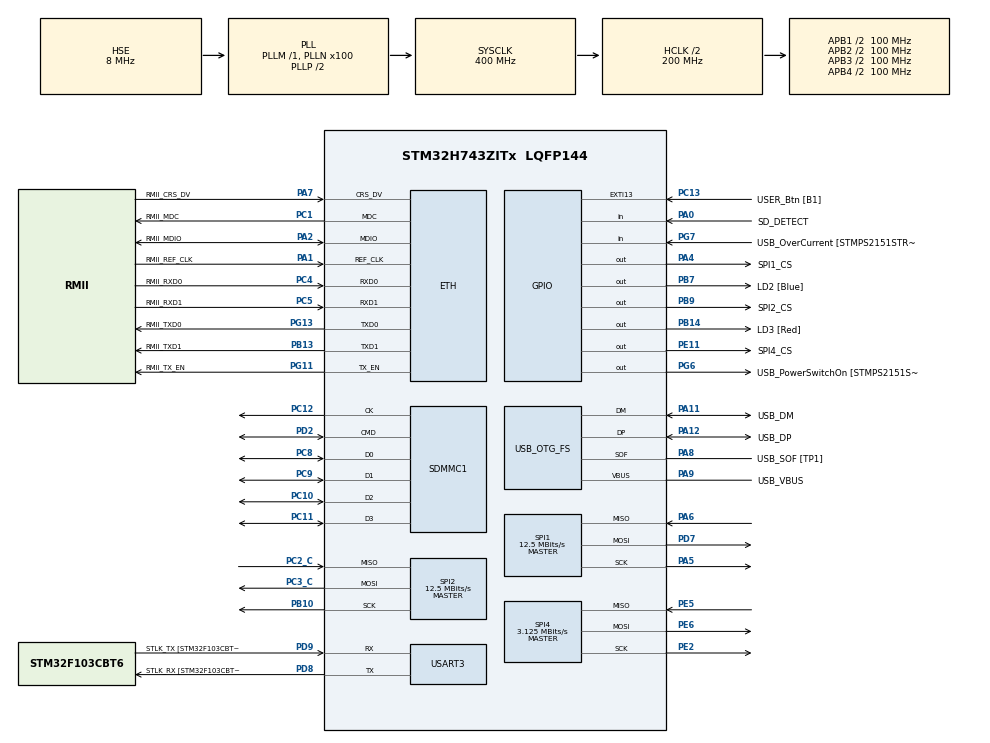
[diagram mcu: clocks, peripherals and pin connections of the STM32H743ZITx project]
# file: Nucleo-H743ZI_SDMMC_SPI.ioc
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CORTEX_M7.CPU_DCache=Enabled
CORTEX_M7.CPU_ICache=Enabled
Dma.Request0=SPI1_RX
Dma.Request1=SPI1_TX
Dma.Request2=SPI2_RX
Dma.Request3=SPI2_TX
Dma.Request4=SPI4_RX
Dma.Request5=SPI4_TX
Dma.SPI1_RX.0.Direction=DMA_PERIPH_TO_MEMORY
Dma.SPI1_RX.0.EventEnable=DISABLE
Dma.SPI1_RX.0.FIFOMode=DMA_FIFOMODE_DISABLE
Dma.SPI1_RX.0.Instance=DMA1_Stream0
Dma.SPI1_RX.0.MemDataAlignment=DMA_MDATAALIGN_BYTE
Dma.SPI1_RX.0.MemInc=DMA_MINC_ENABLE
Dma.SPI1_RX.0.Mode=DMA_NORMAL
Dma.SPI1_RX.0.PeriphDataAlignment=DMA_PDATAALIGN_BYTE
Dma.SPI1_RX.0.PeriphInc=DMA_PINC_DISABLE
Dma.SPI1_RX.0.Polarity=HAL_DMAMUX_REQ_GEN_RISING
Dma.SPI1_RX.0.Priority=DMA_PRIORITY_LOW
Dma.SPI1_RX.0.RequestNumber=1
Dma.SPI1_RX.0.SignalID=NONE
Dma.SPI1_RX.0.SyncEnable=DISABLE
Dma.SPI1_RX.0.SyncPolarity=HAL_DMAMUX_SYNC_NO_EVENT
Dma.SPI1_RX.0.SyncRequestNumber=1
Dma.SPI1_RX.0.SyncSignalID=NONE
Dma.SPI1_TX.1.Direction=DMA_MEMORY_TO_PERIPH
Dma.SPI1_TX.1.EventEnable=DISABLE
Dma.SPI1_TX.1.FIFOMode=DMA_FIFOMODE_DISABLE
Dma.SPI1_TX.1.Instance=DMA1_Stream1
Dma.SPI1_TX.1.MemDataAlignment=DMA_MDATAALIGN_BYTE
Dma.SPI1_TX.1.MemInc=DMA_MINC_ENABLE
Dma.SPI1_TX.1.Mode=DMA_NORMAL
Dma.SPI1_TX.1.PeriphDataAlignment=DMA_PDATAALIGN_BYTE
Dma.SPI1_TX.1.PeriphInc=DMA_PINC_DISABLE
Dma.SPI1_TX.1.Polarity=HAL_DMAMUX_REQ_GEN_RISING
Dma.SPI1_TX.1.Priority=DMA_PRIORITY_LOW
Dma.SPI1_TX.1.RequestNumber=1
Dma.SPI1_TX.1.SignalID=NONE
Dma.SPI1_TX.1.SyncEnable=DISABLE
Dma.SPI1_TX.1.SyncPolarity=HAL_DMAMUX_SYNC_NO_EVENT
Dma.SPI1_TX.1.SyncRequestNumber=1
Dma.SPI1_TX.1.SyncSignalID=NONE
Dma.SPI2_RX.2.Direction=DMA_PERIPH_TO_MEMORY
Dma.SPI2_RX.2.EventEnable=DISABLE
Dma.SPI2_RX.2.FIFOMode=DMA_FIFOMODE_DISABLE
Dma.SPI2_RX.2.Instance=DMA1_Stream2
Dma.SPI2_RX.2.MemDataAlignment=DMA_MDATAALIGN_BYTE
Dma.SPI2_RX.2.MemInc=DMA_MINC_ENABLE
Dma.SPI2_RX.2.Mode=DMA_NORMAL
Dma.SPI2_RX.2.PeriphDataAlignment=DMA_PDATAALIGN_BYTE
Dma.SPI2_RX.2.PeriphInc=DMA_PINC_DISABLE
Dma.SPI2_RX.2.Polarity=HAL_DMAMUX_REQ_GEN_RISING
Dma.SPI2_RX.2.Priority=DMA_PRIORITY_LOW
Dma.SPI2_RX.2.RequestNumber=1
Dma.SPI2_RX.2.SignalID=NONE
Dma.SPI2_RX.2.SyncEnable=DISABLE
Dma.SPI2_RX.2.SyncPolarity=HAL_DMAMUX_SYNC_NO_EVENT
Dma.SPI2_RX.2.SyncRequestNumber=1
Dma.SPI2_RX.2.SyncSignalID=NONE
Dma.SPI2_TX.3.Direction=DMA_MEMORY_TO_PERIPH
Dma.SPI2_TX.3.EventEnable=DISABLE
Dma.SPI2_TX.3.FIFOMode=DMA_FIFOMODE_DISABLE
Dma.SPI2_TX.3.Instance=DMA1_Stream3
Dma.SPI2_TX.3.MemDataAlignment=DMA_MDATAALIGN_BYTE
Dma.SPI2_TX.3.MemInc=DMA_MINC_ENABLE
Dma.SPI2_TX.3.Mode=DMA_NORMAL
Dma.SPI2_TX.3.PeriphDataAlignment=DMA_PDATAALIGN_BYTE
Dma.SPI2_TX.3.PeriphInc=DMA_PINC_DISABLE
Dma.SPI2_TX.3.Polarity=HAL_DMAMUX_REQ_GEN_RISING
Dma.SPI2_TX.3.Priority=DMA_PRIORITY_LOW
Dma.SPI2_TX.3.RequestNumber=1
Dma.SPI2_TX.3.SignalID=NONE
Dma.SPI2_TX.3.SyncEnable=DISABLE
Dma.SPI2_TX.3.SyncPolarity=HAL_DMAMUX_SYNC_NO_EVENT
Dma.SPI2_TX.3.SyncRequestNumber=1
Dma.SPI2_TX.3.SyncSignalID=NONE
Dma.SPI4_RX.4.Direction=DMA_PERIPH_TO_MEMORY
Dma.SPI4_RX.4.EventEnable=DISABLE
Dma.SPI4_RX.4.FIFOMode=DMA_FIFOMODE_DISABLE
Dma.SPI4_RX.4.Instance=DMA1_Stream4
Dma.SPI4_RX.4.MemDataAlignment=DMA_MDATAALIGN_BYTE
Dma.SPI4_RX.4.MemInc=DMA_MINC_ENABLE
Dma.SPI4_RX.4.Mode=DMA_NORMAL
Dma.SPI4_RX.4.PeriphDataAlignment=DMA_PDATAALIGN_BYTE
Dma.SPI4_RX.4.PeriphInc=DMA_PINC_DISABLE
Dma.SPI4_RX.4.Polarity=HAL_DMAMUX_REQ_GEN_RISING
Dma.SPI4_RX.4.Priority=DMA_PRIORITY_LOW
Dma.SPI4_RX.4.RequestNumber=1
Dma.SPI4_RX.4.SignalID=NONE
Dma.SPI4_RX.4.SyncEnable=DISABLE
Dma.SPI4_RX.4.SyncPolarity=HAL_DMAMUX_SYNC_NO_EVENT
Dma.SPI4_RX.4.SyncRequestNumber=1
Dma.SPI4_RX.4.SyncSignalID=NONE
Dma.SPI4_TX.5.Direction=DMA_MEMORY_TO_PERIPH
Dma.SPI4_TX.5.EventEnable=DISABLE
Dma.SPI4_TX.5.FIFOMode=DMA_FIFOMODE_DISABLE
Dma.SPI4_TX.5.Instance=DMA1_Stream5
Dma.SPI4_TX.5.MemDataAlignment=DMA_MDATAALIGN_BYTE
Dma.SPI4_TX.5.MemInc=DMA_MINC_ENABLE
Dma.SPI4_TX.5.Mode=DMA_NORMAL
Dma.SPI4_TX.5.PeriphDataAlignment=DMA_PDATAALIGN_BYTE
Dma.SPI4_TX.5.PeriphInc=DMA_PINC_DISABLE
Dma.SPI4_TX.5.Polarity=HAL_DMAMUX_REQ_GEN_RISING
Dma.SPI4_TX.5.Priority=DMA_PRIORITY_LOW
Dma.SPI4_TX.5.RequestNumber=1
Dma.SPI4_TX.5.SignalID=NONE
Dma.SPI4_TX.5.SyncEnable=DISABLE
Dma.SPI4_TX.5.SyncPolarity=HAL_DMAMUX_SYNC_NO_EVENT
Dma.SPI4_TX.5.SyncRequestNumber=1
Dma.SPI4_TX.5.SyncSignalID=NONE
ETH.MediaInterface=HAL_ETH_RMII_MODE
FATFS.BSP.number=1
FATFS0.BSP.STBoard=false
FATFS0.BSP.api=Unknown
FATFS0.BSP.i2caddr=0
FATFS0.BSP.instance=PA0
FATFS0.BSP.ip=GPIO
FATFS0.BSP.mode=Input
FATFS0.BSP.name=Detect_SDIO
FATFS0.BSP.solution=PA0
LWIP.BSP.number=1
LWIP.GATEWAY_ADDRESS=192.168.025.253
LWIP.IP_ADDRESS=192.168.025.236
LWIP.LWIP_DHCP=0
LWIP.NETMASK_ADDRESS=255.255.255.000
LWIP.Version=v2.0.3_Cube
LWIP0.BSP.STBoard=false
LWIP0.BSP.api=BSP_COMPONENT_DRIVER
LWIP0.BSP.component=LAN8742
LWIP0.BSP.i2caddr=0
LWIP0.BSP.instance=LAN8742
LWIP0.BSP.name=Driver_PHY
LWIP0.BSP.solution=LAN8742
Mcu.Family=STM32H7
Mcu.Name=STM32H743ZITx
Mcu.Package=LQFP144
NVIC.DMA1_Stream0_IRQn=true\:0\:0\:false\:false\:true\:false\:true
NVIC.DMA1_Stream1_IRQn=true\:0\:0\:false\:false\:true\:false\:true
NVIC.DMA1_Stream2_IRQn=true\:0\:0\:false\:false\:true\:false\:true
NVIC.DMA1_Stream3_IRQn=true\:0\:0\:false\:false\:true\:false\:true
NVIC.DMA1_Stream4_IRQn=true\:0\:0\:false\:false\:true\:false\:true
NVIC.DMA1_Stream5_IRQn=true\:0\:0\:false\:false\:true\:false\:true
NVIC.PriorityGroup=NVIC_PRIORITYGROUP_4
NVIC.SDMMC1_IRQn=true\:0\:0\:false\:false\:true\:true\:true
NVIC.SPI1_IRQn=true\:0\:0\:false\:false\:true\:true\:true
NVIC.SPI2_IRQn=true\:0\:0\:false\:false\:true\:true\:true
NVIC.SPI4_IRQn=true\:0\:0\:false\:false\:true\:true\:true
NVIC.USART3_IRQn=true\:0\:0\:false\:false\:true\:true\:true
PA0.GPIO_Label=SD_DETECT
PA0.GPIO_PuPd=GPIO_PULLUP
PA0.Signal=GPIO_Input
PA1.GPIO_Label=RMII_REF_CLK
PA1.GPIO_Speed=GPIO_SPEED_FREQ_HIGH
PA1.Mode=RMII
PA1.Signal=ETH_REF_CLK
PA10.GPIO_Label=USB_ID
PA10.Signal=USB_OTG_FS_ID
PA11.GPIO_Label=USB_DM
PA11.Mode=Device_Only
PA11.Signal=USB_OTG_FS_DM
PA12.GPIO_Label=USB_DP
PA12.Mode=Device_Only
PA12.Signal=USB_OTG_FS_DP
PA2.GPIO_Label=RMII_MDIO
PA2.GPIO_Speed=GPIO_SPEED_FREQ_HIGH
PA2.Mode=RMII
PA2.Signal=ETH_MDIO
PA4.GPIO_Label=SPI1_CS
PA4.GPIO_Speed=GPIO_SPEED_FREQ_HIGH
PA4.PinState=GPIO_PIN_SET
PA4.Signal=GPIO_Output
PA5.GPIO_Speed=GPIO_SPEED_FREQ_HIGH
PA5.Mode=Full_Duplex_Master
PA5.Signal=SPI1_SCK
PA6.GPIO_Speed=GPIO_SPEED_FREQ_HIGH
PA6.Mode=Full_Duplex_Master
PA6.Signal=SPI1_MISO
PA7.GPIO_Label=RMII_CRS_DV
PA7.GPIO_Speed=GPIO_SPEED_FREQ_HIGH
PA7.Mode=RMII
PA7.Signal=ETH_CRS_DV
PA8.GPIO_Label=USB_SOF [TP1]
PA8.Mode=Activate_SOF_FS
PA8.Signal=USB_OTG_FS_SOF
PA9.GPIO_Label=USB_VBUS
PA9.Mode=Activate_VBUS
PA9.Signal=USB_OTG_FS_VBUS
PB10.GPIO_Speed=GPIO_SPEED_FREQ_HIGH
PB10.Mode=Full_Duplex_Master
PB10.Signal=SPI2_SCK
PB13.GPIO_Label=RMII_TXD1
PB13.GPIO_Speed=GPIO_SPEED_FREQ_HIGH
PB13.Mode=RMII
PB13.Signal=ETH_TXD1
PB14.GPIO_Label=LD3 [Red]
PB14.Signal=GPIO_Output
PB7.GPIO_Label=LD2 [Blue]
PB7.Signal=GPIO_Output
PB9.GPIO_Label=SPI2_CS
PB9.GPIO_Speed=GPIO_SPEED_FREQ_HIGH
PB9.PinState=GPIO_PIN_SET
PB9.Signal=GPIO_Output
PC1.GPIO_Label=RMII_MDC
PC1.Mode=RMII
PC1.Signal=ETH_MDC
PC10.GPIO_PuPd=GPIO_PULLUP
PC10.Mode=SD_4_bits_Wide_bus
PC10.Signal=SDMMC1_D2
PC11.GPIO_PuPd=GPIO_PULLUP
PC11.Mode=SD_4_bits_Wide_bus
PC11.Signal=SDMMC1_D3
PC12.GPIO_PuPd=GPIO_PULLUP
PC12.Mode=SD_4_bits_Wide_bus
PC12.Signal=SDMMC1_CK
PC13.GPIO_Label=USER_Btn [B1]
PC13.Signal=GPXTI13
PC14-OSC32_IN\ (OSC32_IN).Mode=LSE-External-Oscillator
PC14-OSC32_IN\ (OSC32_IN).Signal=RCC_OSC32_IN
PC15-OSC32_OUT\ (OSC32_OUT).Mode=LSE-External-Oscillator
PC15-OSC32_OUT\ (OSC32_OUT).Signal=RCC_OSC32_OUT
PC2_C.GPIO_Speed=GPIO_SPEED_FREQ_HIGH
PC2_C.Mode=Full_Duplex_Master
PC2_C.Signal=SPI2_MISO
PC3_C.GPIO_Speed=GPIO_SPEED_FREQ_HIGH
PC3_C.Mode=Full_Duplex_Master
PC3_C.Signal=SPI2_MOSI
PC4.GPIO_Label=RMII_RXD0
PC4.GPIO_Speed=GPIO_SPEED_FREQ_HIGH
PC4.Mode=RMII
PC4.Signal=ETH_RXD0
PC5.GPIO_Label=RMII_RXD1
PC5.GPIO_Speed=GPIO_SPEED_FREQ_HIGH
PC5.Mode=RMII
PC5.Signal=ETH_RXD1
PC8.GPIO_PuPd=GPIO_PULLUP
PC8.Mode=SD_4_bits_Wide_bus
PC8.Signal=SDMMC1_D0
PC9.GPIO_PuPd=GPIO_PULLUP
PC9.Mode=SD_4_bits_Wide_bus
PC9.Signal=SDMMC1_D1
PD2.GPIO_PuPd=GPIO_PULLUP
PD2.Mode=SD_4_bits_Wide_bus
PD2.Signal=SDMMC1_CMD
PD7.GPIO_Speed=GPIO_SPEED_FREQ_HIGH
PD7.Mode=Full_Duplex_Master
PD7.Signal=SPI1_MOSI
PD8.GPIO_Label=STLK_RX [STM32F103CBT6_PA3]
PD8.Mode=Asynchronous
PD8.Signal=USART3_TX
PD9.GPIO_Label=STLK_TX [STM32F103CBT6_PA2]
PD9.Mode=Asynchronous
PD9.Signal=USART3_RX
PE11.GPIO_Label=SPI4_CS
PE11.GPIO_Speed=GPIO_SPEED_FREQ_HIGH
PE11.PinState=GPIO_PIN_SET
PE11.Signal=GPIO_Output
PE2.GPIO_Speed=GPIO_SPEED_FREQ_HIGH
PE2.Mode=Full_Duplex_Master
PE2.Signal=SPI4_SCK
PE5.GPIO_Speed=GPIO_SPEED_FREQ_HIGH
PE5.Mode=Full_Duplex_Master
PE5.Signal=SPI4_MISO
PE6.GPIO_Speed=GPIO_SPEED_FREQ_HIGH
PE6.Mode=Full_Duplex_Master
PE6.Signal=SPI4_MOSI
PG11.GPIO_Label=RMII_TX_EN
PG11.GPIO_Speed=GPIO_SPEED_FREQ_HIGH
PG11.Mode=RMII
PG11.Signal=ETH_TX_EN
PG13.GPIO_Label=RMII_TXD0
PG13.GPIO_Speed=GPIO_SPEED_FREQ_HIGH
PG13.Mode=RMII
PG13.Signal=ETH_TXD0
PG6.GPIO_Label=USB_PowerSwitchOn [STMPS2151STR_EN]
PG6.Signal=GPIO_Output
PG7.GPIO_Label=USB_OverCurrent [STMPS2151STR_FAULT]
PG7.Signal=GPIO_Input
PH0-OSC_IN\ (PH0).GPIO_Label=MCO
PH0-OSC_IN\ (PH0).Mode=HSE-External-Clock-Source
PH0-OSC_IN\ (PH0).Signal=RCC_OSC_IN
PH1-OSC_OUT\ (PH1).Mode=HSE-External-Clock-Source
PH1-OSC_OUT\ (PH1).Signal=RCC_OSC_OUT
ProjectManager.HeapSize=0x1000
ProjectManager.StackSize=0x1000
ProjectManager.TargetToolchain=TrueSTUDIO
RCC.48MHZClocksFreq_Value=24000000
RCC.ADCFreq_Value=16125000
RCC.AHBFreq_Value=216000000
RCC.APB1CLKDivider=RCC_HCLK_DIV4
RCC.APB1Freq_Value=100000000
RCC.APB1TimFreq_Value=108000000
RCC.APB2CLKDivider=RCC_HCLK_DIV2
RCC.APB2Freq_Value=100000000
RCC.APB2TimFreq_Value=216000000
RCC.APB3Freq_Value=100000000
RCC.APB4Freq_Value=100000000
RCC.CortexFreq_Value=400000000
RCC.D1PPRE=RCC_APB3_DIV2
RCC.D2PPRE1=RCC_APB1_DIV2
RCC.D2PPRE2=RCC_APB2_DIV2
RCC.D3PPRE=RCC_APB4_DIV2
RCC.DIVM1=1
RCC.DIVN1=100
RCC.DIVQ1=4
RCC.HCLKFreq_Value=200000000
RCC.HPRE=RCC_HCLK_DIV2
RCC.HSE_VALUE=8000000
RCC.HSI_VALUE=64000000
RCC.PLLM=25
RCC.PLLMUL=RCC_PLL_MUL9
RCC.PLLN=432
RCC.PLLQ=9
RCC.PLLSourceVirtual=RCC_PLLSOURCE_HSE
RCC.PRESCALERUSB=RCC_USBCLKSOURCE_PLL_DIV1_5
RCC.PWR_Regulator_Voltage_Scale=PWR_REGULATOR_VOLTAGE_SCALE1
RCC.SYSCLKFreq_VALUE=400000000
RCC.SYSCLKSource=RCC_SYSCLKSOURCE_PLLCLK
RCC.SYSCLKSourceVirtual=RCC_SYSCLKSOURCE_PLLCLK
RCC.USBCLockSelection=RCC_USBCLKSOURCE_HSI48
RCC.USBFreq_Value=48000000
RCC.VCOOutputFreq_Value=432000000
SPI1.BaudRatePrescaler=SPI_BAUDRATEPRESCALER_16
SPI1.CalculateBaudRate=12.5 MBits/s
SPI1.DataSize=SPI_DATASIZE_8BIT
SPI1.Direction=SPI_DIRECTION_2LINES
SPI1.Mode=SPI_MODE_MASTER
SPI1.VirtualType=VM_MASTER
SPI2.BaudRatePrescaler=SPI_BAUDRATEPRESCALER_16
SPI2.CalculateBaudRate=12.5 MBits/s
SPI2.DataSize=SPI_DATASIZE_8BIT
SPI2.Direction=SPI_DIRECTION_2LINES
SPI2.Mode=SPI_MODE_MASTER
SPI2.VirtualType=VM_MASTER
SPI4.BaudRatePrescaler=SPI_BAUDRATEPRESCALER_32
SPI4.CalculateBaudRate=3.125 MBits/s
SPI4.DataSize=SPI_DATASIZE_8BIT
SPI4.Direction=SPI_DIRECTION_2LINES
SPI4.Mode=SPI_MODE_MASTER
SPI4.VirtualType=VM_MASTER
USART3.VirtualMode-Asynchronous=VM_ASYNC
USB_OTG_FS.VirtualMode=Device_Only
VP_FATFS_VS_SDIO.Mode=SDIO
VP_LWIP_VS_Enabled.Mode=Enabled
board=NUCLEO-H743ZI

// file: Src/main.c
/* USER CODE BEGIN Header */
/**
  ******************************************************************************
  * @file           : main.c
  * @brief          : Main program body
  ******************************************************************************
  * @attention
  *
  * <h2><center>&copy; Copyright (c) 2019 STMicroelectronics.
  * All rights reserved.</center></h2>
  *
  * This software component is licensed by ST under BSD 3-Clause license,
  * the "License"; You may not use this file except in compliance with the
  * License. You may obtain a copy of the License at:
  *                        opensource.org/licenses/BSD-3-Clause
  *
  ******************************************************************************
  */
/* USER CODE END Header */

#include <dmc_fat.h>
#include <dmc_print.h>
#include "main.h"
#include "dma.h"
#include "fatfs.h"
#include "lwip.h"
#include "sdmmc.h"
#include "spi.h"
#include "usart.h"
#include "usb_device.h"
#include "gpio.h"

/* USER CODE BEGIN PV */
uint32_t msTick = 0;
uint32_t msTickPrevious = 0;

/* USER CODE END PV */

void SystemClock_Config(void);
/* USER CODE BEGIN PFP */
void HAL_IncTicks(void);
void HAL_StartTicks(void);
uint8_t HAL_GetTicks(uint32_t ms);
void MPU_Config(void);

/* USER CODE END PFP */

int main(void)
{

  /* Enable I-Cache---------------------------------------------------------*/
  SCB_EnableICache();

  /* Enable D-Cache---------------------------------------------------------*/
  SCB_EnableDCache();

  /* MCU Configuration--------------------------------------------------------*/

  /* Reset of all peripherals, Initializes the Flash interface and the Systick. */
  HAL_Init();

  /* Configure the system clock */
  SystemClock_Config();

  /* USER CODE BEGIN SysInit */
  MPU_Config();

  /* USER CODE END SysInit */

  /* Initialize all configured peripherals */
  MX_GPIO_Init();
  MX_DMA_Init();
  MX_SPI1_Init();
  MX_SPI2_Init();
  MX_SPI4_Init();
  MX_USART3_UART_Init();

  dmc_puts("\n");
  dmc_puts("--------------------------------------------------------------------------------\n");
  dmc_puts("MCU type            : ");
  dmc_puts(TERMINAL_CYAN);
  dmc_puts(GetMCUType());
  dmc_puts(TERMINAL_DEFAULT);
  if (strcmp(GetMCUType(), "STM32H743xx") == 0)
  {
    dmc_puts(TERMINAL_LIGHT_GREEN);
    printf(" OK\n");
    dmc_puts(TERMINAL_DEFAULT);
  }
  else
  {
    dmc_puts(TERMINAL_LIGHT_RED);
    printf(" FAIL\n");
    dmc_puts(TERMINAL_DEFAULT);
  }

  GetMcuRevision();

//  run_sdmmc_test();

  dmc_puts("MX_SDMMC1_SD_Init\n");
  MX_SDMMC1_SD_Init();
  dmc_puts("MX_FATFS_Init\n");
  MX_FATFS_Init();

  MX_USB_DEVICE_Init();

//  MX_LWIP_Init();
  /* USER CODE BEGIN 2 */

  dmc_put_sethuart(&huart3);

  dmc_puts(TERMINAL_DEFAULT);

  HAL_StartTicks();

  dmc_puts("SDPath: ");
  dmc_puts(SDPath);
  dmc_putcr();

  FRESULT res;
  FATFS MMCFatFs;
  FIL myFile;
  FATFS fs;
  DSTATUS status;
  BYTE work[1024]; /* Work area (larger is better for processing time) */

  /* Disk initialization */
  dmc_puts("Initialize disk: ");
  status = disk_initialize(0);
  if (status != RES_OK)
  {
    ShowDiskStatus(status);
  }
  else
  {
    dmc_puts("OK\n");
  }

  /* Disk status */
  dmc_puts("Disk status: ");
  status = disk_status(0);
  if (status != RES_OK)
  {
    ShowDiskStatus(status);
  }
  else
  {
    dmc_puts("OK\n");
  }

//  uint8_t pWData[512];
//  uint8_t pRData[512];
//  uint16_t BlockSize = 512;
//  uint32_t BlockNbr = 2;
//  uint32_t ReadAddr = 0;
//  uint32_t WriteAddr = 0;
//  uint32_t NumOfBlocks = 1;
//  uint32_t Timeout = 1000;
//  uint8_t SD_status = 0;
//
//  for (uint32_t j = 0; j < BlockNbr; j += 1)
//  {
//    WriteAddr = j;
//    ReadAddr = j;
//
//
//    for (uint16_t i = 0; i < BlockSize; i++)
//    {
//      pRData[i] = (i & 0xff);
//    }
//
//    //    disk_write(
//    //      0,    /* Physical drive nmuber to identify the drive */
//    //      pWData, /* Data to be written */
//    //      WriteAddr,   /* Sector address in LBA */
//    //      NumOfBlocks          /* Number of sectors to write */
//    //    );
//
//    //    dmc_puts("BSP_SD_WriteBlocks: ");
//    //    SD_status = BSP_SD_WriteBlocks((uint32_t *)pWData, WriteAddr, NumOfBlocks, Timeout);
//    //    dmc_puts("WR SD_status: ");
//    //    dmc_putint(SD_status);
//    //    dmc_putc(' ');
//
//    disk_read(
//        0,    /* Physical drive number to identify the drive */
//        pRData,   /* Data buffer to store read data */
//        ReadAddr,         /* Sector address in LBA */
//        NumOfBlocks    /* Number of sectors to read */
//    );
//
//    //    dmc_puts("BSP_SD_ReadBlocks: ");
//    //    SD_status = BSP_SD_ReadBlocks((uint32_t *)pRData, ReadAddr, NumOfBlocks, Timeout);
//    //    dmc_puts("RD SD_status: ");
//    //    dmc_putint(SD_status);
//    //    dmc_putc(' ');
//
//    //    uint8_t match = 1;
//    //    if (memcmp(pWData, pRData, BlockSize))
//    //    {
//    //      match = 0;
//    //    }
//    //    dmc_puts("match: ");
//    //    dmc_putint(match);
//    //    dmc_putc(' ');
//
////    for (uint16_t k = 0; k < BlockSize; k += 16)
////    {
////      dmc_puthex8(k + j * BlockSize);
////      dmc_puts("  ");
////      for (uint16_t i = 0; i < 16; i++)
////      {
////        dmc_puthex2(pRData[i + k]);
////        dmc_putc(' ');
////      }
////      dmc_putc(' ');
////      for (uint16_t i = 0; i < 16; i++)
////      {
////        if ((pRData[i + k] >= ' ') && (pRData[i + k] <= 127))
////        {
////          dmc_putc(pRData[i + k]);
////        }
////        else
////        {
////          dmc_putc('.');
////        }
////      }
////      dmc_putcr();
////    }
//  }

  //  /* Format Disk */
  //  /* Create FAT volume */
  //  // The f_mkfs function creates an FAT/exFAT volume on the logical drive.
  //  dmc_puts("Format disk\n");
  //  printf(TERMINAL_GREEN);
  //  res = f_mkfs(SDPath, FM_FAT, 0, work, sizeof(work));
  ////  res = f_mkfs(SDPath, FM_FAT32, 0, work, sizeof(work));
  //  printf(TERMINAL_DEFAULT);
  //  if (res != FR_OK)
  //  {
  //    ShowFatFsError(res);
  //  }
  //  else
  //  {
  //    dmc_puts("OK\n");
  //  }
  //

  /* Mount */
  dmc_puts("Mount disk: ");
  res = f_mount(&fs, SDPath, 1);
  if (res != FR_OK)
  {
    ShowFatFsError(res);
  }
  else
  {
    dmc_puts("OK\n");
  }

  /* Get volume label of the default drive */
  //  printf("Get volume label\n");
  char label[12];
  res = f_getlabel(SDPath, label, 0);
  if (res != FR_OK)
  {
    ShowFatFsError(res);
  }
  printf(TERMINAL_LIGHT_GREEN);
  printf("Volume label: %s\n", label);
  printf(TERMINAL_DEFAULT);

  /* Get volume information and free clusters of drive 1 */
  //  printf("Disk space:\n");
  FATFS *fs2;
  DWORD fre_clust, fre_sect, tot_sect;
  res = f_getfree(SDPath, &fre_clust, &fs2);
  if (res != FR_OK)
  {
    ShowFatFsError(res);
  }
  /* Get total sectors and free sectors */
  tot_sect = (fs2->n_fatent - 2) * fs2->csize;
  fre_sect = fre_clust * fs2->csize;
  /* Print the free space (assuming 512 bytes/sector) */
  printf(TERMINAL_LIGHT_GREEN);
  printf("%10lu kB total disk space\n", tot_sect / 2);  //   15386720 kB total disk space
  printf("%10lu kB available\n", fre_sect / 2);     //   15386688 kB available
  printf(TERMINAL_DEFAULT);

  scan_files(SDPath, 1);

  char *bufptr;
  FIL fil; /* File object */
  char filename[64];
  char pathname[64];
  char rstring[1024];

  /* Read file */
  strcpy(filename, "Info.txt");
  printf("Read file %s\n", filename);
  res = f_open(&fil, filename, FA_READ);
  if (res != FR_OK)
  {
    ShowFatFsError(res);
  }
  printf(TERMINAL_LIGHT_YELLOW);
  while (!f_eof(&fil))
  {
//    while (f_tell(&fil)  <  f_size(&fil)) {
    f_gets(rstring, 64, &fil);
    printf("%s", rstring);
  }
  printf(TERMINAL_DEFAULT);
  /* Close file */
    printf("Close file\n");
  res = f_close(&fil);
  if (res != FR_OK)
  {
    ShowFatFsError(res);
  }

  uint8_t CreateFiles = FALSE;
  CreateFiles = TRUE;
  if (CreateFiles)
  {
    /* Create file */
    // FA_CREATE_NEW    - FAILED: Access denied due to prohibited access
    // FA_CREATE_ALWAYS - Recreates the file if exist (overwrite)
    strcpy(filename, "hello.txt");
    printf("Create file %s\n", filename);
    res = f_open(&fil, filename, FA_CREATE_ALWAYS | FA_WRITE);
    if (res != FR_OK)
    {
      ShowFatFsError(res);
    }
    /* Write message */
    UINT wbytes; /* File write counts, Bytes written */
    char wtext[128];
    snprintf(wtext, 128, "Hello, World!\nTest.\n");
    int length = strlen(wtext);
    printf("f_write...\n");
    res = f_write(&fil, wtext, length, &wbytes);
    if (res != FR_OK)
    {
      ShowFatFsError(res);
    }
    printf("done\n");
    /* Close file */
    //  printf("Close file\n");
    printf("f_close...\n");
    res = f_close(&fil);
    if (res != FR_OK)
    {
      ShowFatFsError(res);
    }
    printf("done\n");
    //  Set timestamp
    printf("Set file timestamp of %s\n", filename);
//    RTC_GetRtcDateTime(&DateTime);
    res = set_timestamp(filename, 2000 + 19, 05, 24, 23, 59, 59);
    if (res != FR_OK)
    {
      ShowFatFsError(res);
    }
    printf("done\n");

    /* Append file */
    printf("Append file %s\n", filename);
    res = f_open(&fil, filename, FA_OPEN_APPEND | FA_WRITE);
    if (res != FR_OK)
    {
      ShowFatFsError(res);
    }
    /* Write message */
    snprintf(wtext, 128, "This will be appended to the file.\n");
    length = strlen(wtext);
    res = f_write(&fil, wtext, length, &wbytes);
    if (res != FR_OK)
    {
      ShowFatFsError(res);
    }
    /* Close file */
    //  printf("Close file\n");
    res = f_close(&fil);
    if (res != FR_OK)
    {
      ShowFatFsError(res);
    }
    //  Set timestamp
    printf("Set file timestamp of %s\n", filename);
//    RTC_GetRtcDateTime(&DateTime);
    res = set_timestamp(filename, 2000 + 19, 05, 24, 23, 59, 59);
    if (res != FR_OK)
    {
      ShowFatFsError(res);
    }

    /* Create file */
    strcpy(filename, "hello2.txt");
    printf("Create file %s\n", filename);
    res = f_open(&fil, filename, FA_CREATE_ALWAYS | FA_WRITE);
    if (res != FR_OK)
    {
      ShowFatFsError(res);
    }
    /* Write message */
    UINT wbytes2; /* File write counts, Bytes written */
    char wtext2[] = "The quick brown\nfox jumps over\nthe lazy dog.\n";
    int length2 = strlen(wtext2);
    res = f_write(&fil, wtext2, strlen(wtext2), &wbytes2);
    if (res != FR_OK)
    {
      ShowFatFsError(res);
    }
    if (wbytes2 != length2)
    {
      printf("FAILED\n");
    }
    /* Close file */
    //  printf("Close file\n");
    res = f_close(&fil);
    if (res != FR_OK)
    {
      ShowFatFsError(res);
    }
    //  Set timestamp
    printf("Set file timestamp of %s\n", filename);
//    RTC_GetRtcDateTime(&DateTime);
    res = set_timestamp(filename, 2000 + 19, 05, 24, 23, 59, 59);
    if (res != FR_OK)
    {
      ShowFatFsError(res);
    }

    /* Create file */
    strcpy(filename, "my_text_file.txt");
    printf("Create file %s\n", filename);
    res = f_open(&fil, filename, FA_CREATE_ALWAYS | FA_WRITE);
    if (res != FR_OK)
    {
      ShowFatFsError(res);
    }
    /* Write to file */
    f_puts("Hello world!!!\n", &fil);
    f_puts("Test.\n", &fil);
    f_printf(&fil, "%d\n", 1234); /* "1234" */
    f_printf(&fil, "%04x\n", 0xAB3); /* "0ab3" */
    f_printf(&fil, "%s\n", "This is an additional line.");
    f_printf(&fil, "And another one...\n");
    /* Close file */
    //  printf("Close file\n");
    res = f_close(&fil);
    if (res != FR_OK)
    {
      ShowFatFsError(res);
    }
    //  Set timestamp
    printf("Set file timestamp of %s\n", filename);
//    RTC_GetRtcDateTime(&DateTime);
    res = set_timestamp(filename, 2000 + 19, 05, 24, 23, 59, 59);
    if (res != FR_OK)
    {
      ShowFatFsError(res);
    }
  }

  /* Read file */
//  strcpy(filename, "hello.txt");
//  printf("Read file %s\n", filename);
//  res = f_open(&fil, filename, FA_READ);
//  if (res != FR_OK)
//  {
//    ShowFatFsError(res);
//  }
//  printf(TERMINAL_LIGHT_YELLOW);
//  while (!f_eof(&fil))
//  {
////    while (f_tell(&fil)  <  f_size(&fil)) {
//    f_gets(rstring, 64, &fil);
//    printf("%s", rstring);
//  }
//  printf(TERMINAL_DEFAULT);
//  /* Close file */
//    printf("Close file\n");
//  res = f_close(&fil);
//  if (res != FR_OK)
//  {
//    ShowFatFsError(res);
//  }

  /* USER CODE END 2 */

  /* Infinite loop */
  /* USER CODE BEGIN WHILE */
  while (1)
  {
    if (HAL_GetTicks(500))
    {
      HAL_GPIO_TogglePin(GPIOB, LD1_Pin|LD2_Pin|LD3_Pin);
    }

//    HAL_GPIO_WritePin(GPIOB, LD1_Pin|LD2_Pin|LD3_Pin, GPIO_PIN_RESET);
//    HAL_Delay(500);
//    HAL_GPIO_WritePin(GPIOB, LD1_Pin|LD2_Pin|LD3_Pin, GPIO_PIN_SET);
//    HAL_Delay(500);
    /* USER CODE END WHILE */

    /* USER CODE BEGIN 3 */
//    MX_LWIP_Process();

  }
  /* USER CODE END 3 */
}

void SystemClock_Config(void)
{
  RCC_OscInitTypeDef RCC_OscInitStruct = {0};
  RCC_ClkInitTypeDef RCC_ClkInitStruct = {0};
  RCC_PeriphCLKInitTypeDef PeriphClkInitStruct = {0};

  /** Supply configuration update enable
  */
  HAL_PWREx_ConfigSupply(PWR_LDO_SUPPLY);
  /** Configure the main internal regulator output voltage
  */
  __HAL_PWR_VOLTAGESCALING_CONFIG(PWR_REGULATOR_VOLTAGE_SCALE1);

  while(!__HAL_PWR_GET_FLAG(PWR_FLAG_VOSRDY)) {}
  /** Initializes the CPU, AHB and APB busses clocks
  */
  RCC_OscInitStruct.OscillatorType = RCC_OSCILLATORTYPE_HSI48|RCC_OSCILLATORTYPE_HSE;
  RCC_OscInitStruct.HSEState = RCC_HSE_BYPASS;
  RCC_OscInitStruct.HSI48State = RCC_HSI48_ON;
  RCC_OscInitStruct.PLL.PLLState = RCC_PLL_ON;
  RCC_OscInitStruct.PLL.PLLSource = RCC_PLLSOURCE_HSE;
  RCC_OscInitStruct.PLL.PLLM = 1;
  RCC_OscInitStruct.PLL.PLLN = 100;
  RCC_OscInitStruct.PLL.PLLP = 2;
  RCC_OscInitStruct.PLL.PLLQ = 8; // 8 = 100MHz SDMMC1
  RCC_OscInitStruct.PLL.PLLR = 2;
  RCC_OscInitStruct.PLL.PLLRGE = RCC_PLL1VCIRANGE_3;
  RCC_OscInitStruct.PLL.PLLVCOSEL = RCC_PLL1VCOWIDE;
  RCC_OscInitStruct.PLL.PLLFRACN = 0;
  if (HAL_RCC_OscConfig(&RCC_OscInitStruct) != HAL_OK)
  {
    Error_Handler();
  }
  /** Initializes the CPU, AHB and APB busses clocks
  */
  RCC_ClkInitStruct.ClockType = RCC_CLOCKTYPE_HCLK|RCC_CLOCKTYPE_SYSCLK
                              |RCC_CLOCKTYPE_PCLK1|RCC_CLOCKTYPE_PCLK2
                              |RCC_CLOCKTYPE_D3PCLK1|RCC_CLOCKTYPE_D1PCLK1;
  RCC_ClkInitStruct.SYSCLKSource = RCC_SYSCLKSOURCE_PLLCLK;
  RCC_ClkInitStruct.SYSCLKDivider = RCC_SYSCLK_DIV1;
  RCC_ClkInitStruct.AHBCLKDivider = RCC_HCLK_DIV2;
  RCC_ClkInitStruct.APB3CLKDivider = RCC_APB3_DIV2;
  RCC_ClkInitStruct.APB1CLKDivider = RCC_APB1_DIV2;
  RCC_ClkInitStruct.APB2CLKDivider = RCC_APB2_DIV2;
  RCC_ClkInitStruct.APB4CLKDivider = RCC_APB4_DIV2;

  if (HAL_RCC_ClockConfig(&RCC_ClkInitStruct, FLASH_LATENCY_2) != HAL_OK)
  {
    Error_Handler();
  }
  PeriphClkInitStruct.PeriphClockSelection = RCC_PERIPHCLK_USART3|RCC_PERIPHCLK_SPI4
                              |RCC_PERIPHCLK_SPI1|RCC_PERIPHCLK_SPI2
                              |RCC_PERIPHCLK_SDMMC|RCC_PERIPHCLK_USB;
  PeriphClkInitStruct.SdmmcClockSelection = RCC_SDMMCCLKSOURCE_PLL;
  PeriphClkInitStruct.Spi123ClockSelection = RCC_SPI123CLKSOURCE_PLL;
  PeriphClkInitStruct.Spi45ClockSelection = RCC_SPI45CLKSOURCE_D2PCLK1;
  PeriphClkInitStruct.Usart234578ClockSelection = RCC_USART234578CLKSOURCE_D2PCLK1;
  PeriphClkInitStruct.UsbClockSelection = RCC_USBCLKSOURCE_HSI48;
  if (HAL_RCCEx_PeriphCLKConfig(&PeriphClkInitStruct) != HAL_OK)
  {
    Error_Handler();
  }
  /** Enable USB Voltage detector
  */
  HAL_PWREx_EnableUSBVoltageDetector();
}

/* USER CODE BEGIN 4 */
void HAL_IncTicks(void)
{
  msTick += (uint32_t) 1;
}

void HAL_StartTicks(void)
{
  msTickPrevious = msTick;
}

uint8_t HAL_GetTicks(uint32_t ms)
{
  if ((msTick - msTickPrevious) >= ms)
  {
    msTickPrevious = msTick;
    return TRUE;
  }
  return FALSE;
}

/**
  * @brief  Configure the MPU attributes.
  * @note   The Base Address 0x24000000 is the SRAM1 accessible by the SDIO internal DMA.
            the configured region is 512Kb size.
  * @param  None
  * @retval None
  */
void MPU_Config(void)
{
  MPU_Region_InitTypeDef MPU_InitStruct;

  /* Disable the MPU */
  HAL_MPU_Disable();

  /* Configure the MPU attributes as WT for SRAM1 */
  MPU_InitStruct.Enable = MPU_REGION_ENABLE;
  MPU_InitStruct.BaseAddress = 0x24000000;
  MPU_InitStruct.Size = MPU_REGION_SIZE_512KB;
  MPU_InitStruct.AccessPermission = MPU_REGION_FULL_ACCESS;
  MPU_InitStruct.IsBufferable = MPU_ACCESS_NOT_BUFFERABLE;
  MPU_InitStruct.IsCacheable = MPU_ACCESS_CACHEABLE;
  MPU_InitStruct.IsShareable = MPU_ACCESS_NOT_SHAREABLE;
  MPU_InitStruct.Number = MPU_REGION_NUMBER0; // MPU_REGION_NUMBER1
  MPU_InitStruct.TypeExtField = MPU_TEX_LEVEL0;
  MPU_InitStruct.SubRegionDisable = 0x00;
  MPU_InitStruct.DisableExec = MPU_INSTRUCTION_ACCESS_ENABLE;

  HAL_MPU_ConfigRegion(&MPU_InitStruct);

  /* Enable the MPU */
  HAL_MPU_Enable(MPU_PRIVILEGED_DEFAULT);
}

/* USER CODE END 4 */

void Error_Handler(void)
{
}

/************************ (C) COPYRIGHT STMicroelectronics *****END OF FILE****/
